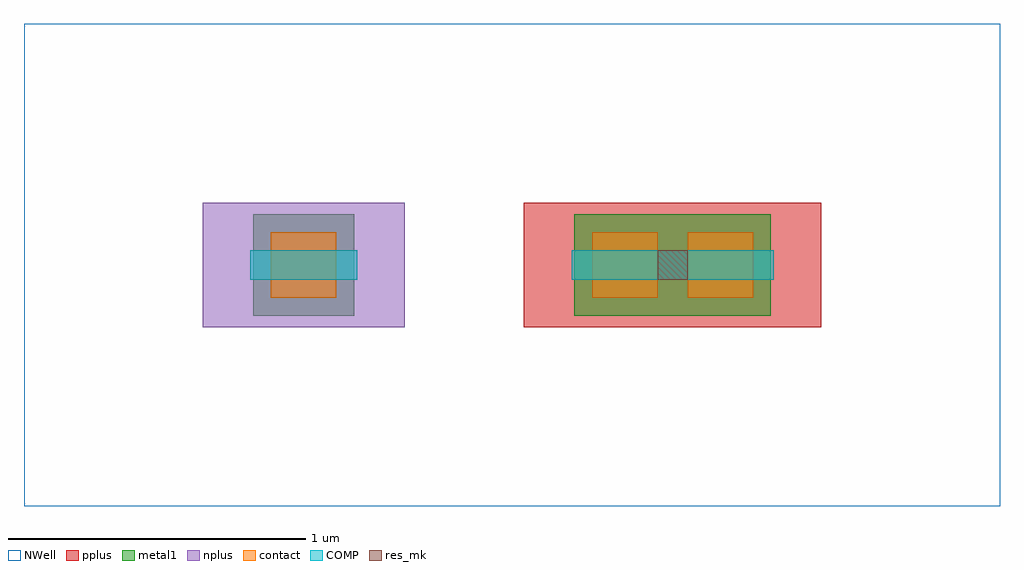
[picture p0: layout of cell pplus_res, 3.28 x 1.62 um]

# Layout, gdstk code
import gdstk
lib = gdstk.Library(unit=1e-6, precision=1e-09)
def R(c, l, rs):  # rectangles x0, y0, x1, y1
    for r in rs: c.add(gdstk.rectangle(r[:2], r[2:], *l))
NWell = (21, 0)
COMP = (22, 0)
pplus = (31, 0)
nplus = (32, 0)
contact = (33, 0)
metal1 = (34, 0)
res_mk = (110, 5)

compass_43289b1a = lib.new_cell('compass_43289b1a')
R(compass_43289b1a, res_mk, [(-0.05,-0.05,0.05,0.05)])

rectangle_43289b1a = lib.new_cell('rectangle_43289b1a')
rectangle_43289b1a.add(gdstk.Reference(compass_43289b1a, (0.05,0.05)))

compass_e4e30ed9 = lib.new_cell('compass_e4e30ed9')
R(compass_e4e30ed9, COMP, [(-0.34,-0.05,0.34,0.05)])

rectangle_e4e30ed9 = lib.new_cell('rectangle_e4e30ed9')
rectangle_e4e30ed9.add(gdstk.Reference(compass_e4e30ed9, (0.34,0.05)))

compass_f38dc993 = lib.new_cell('compass_f38dc993')
R(compass_f38dc993, contact, [(-0.11,-0.11,0.11,0.11)])

rectangle_f38dc993 = lib.new_cell('rectangle_f38dc993')
rectangle_f38dc993.add(gdstk.Reference(compass_f38dc993, (0.11,0.11)))

via_generator_9abf2eb8 = lib.new_cell('via_generator_9abf2eb8')
r = gdstk.Reference(rectangle_f38dc993, (-0.22,-0.06)); r.repetition = gdstk.Repetition(1, 1, v1=(0.5,0), v2=(0,0.5)); via_generator_9abf2eb8.add(r)

compass_02b66c81 = lib.new_cell('compass_02b66c81')
R(compass_02b66c81, metal1, [(-0.17,-0.17,0.17,0.17)])

rectangle_02b66c81 = lib.new_cell('rectangle_02b66c81')
rectangle_02b66c81.add(gdstk.Reference(compass_02b66c81, (0.17,0.17)))

via_stack_db035915 = lib.new_cell('via_stack_db035915')
via_stack_db035915.add(gdstk.Reference(via_generator_9abf2eb8, (0,0)))
via_stack_db035915.add(gdstk.Reference(rectangle_02b66c81, (-0.28,-0.12)))

compass_2737ae15 = lib.new_cell('compass_2737ae15')
R(compass_2737ae15, pplus, [(-0.5,-0.21,0.5,0.21)])

rectangle_2737ae15 = lib.new_cell('rectangle_2737ae15')
rectangle_2737ae15.add(gdstk.Reference(compass_2737ae15, (0.5,0.21)))

compass_9d2fae97 = lib.new_cell('compass_9d2fae97')
R(compass_9d2fae97, COMP, [(-0.18,-0.05,0.18,0.05)])

rectangle_9d2fae97 = lib.new_cell('rectangle_9d2fae97')
rectangle_9d2fae97.add(gdstk.Reference(compass_9d2fae97, (0.18,0.05)))

via_generator_cda28e9a = lib.new_cell('via_generator_cda28e9a')
r = gdstk.Reference(rectangle_f38dc993, (-1.3,-0.06)); r.repetition = gdstk.Repetition(1, 1, v1=(0.5,0), v2=(0,0.5)); via_generator_cda28e9a.add(r)

via_stack_0aaa5c48 = lib.new_cell('via_stack_0aaa5c48')
via_stack_0aaa5c48.add(gdstk.Reference(via_generator_cda28e9a, (0,0)))
via_stack_0aaa5c48.add(gdstk.Reference(rectangle_02b66c81, (-1.36,-0.12)))

compass_985568a3 = lib.new_cell('compass_985568a3')
R(compass_985568a3, nplus, [(-0.34,-0.21,0.34,0.21)])

rectangle_985568a3 = lib.new_cell('rectangle_985568a3')
rectangle_985568a3.add(gdstk.Reference(compass_985568a3, (0.34,0.21)))

plus_res_inst_8eec5775 = lib.new_cell('plus_res_inst_8eec5775')
plus_res_inst_8eec5775.add(gdstk.Reference(rectangle_43289b1a, (0,0)))
plus_res_inst_8eec5775.add(gdstk.Reference(rectangle_e4e30ed9, (-0.29,0)))
r = gdstk.Reference(via_stack_db035915, (0,0)); r.repetition = gdstk.Repetition(2, 1, v1=(0.32,0), v2=(0,1)); plus_res_inst_8eec5775.add(r)
plus_res_inst_8eec5775.add(gdstk.Reference(rectangle_2737ae15, (-0.45,-0.16)))
plus_res_inst_8eec5775.add(gdstk.Reference(rectangle_9d2fae97, (-1.37,0)))
plus_res_inst_8eec5775.add(gdstk.Reference(via_stack_0aaa5c48, (0,0)))
plus_res_inst_8eec5775.add(gdstk.Reference(rectangle_985568a3, (-1.53,-0.16)))

compass_b81fe53b = lib.new_cell('compass_b81fe53b')
R(compass_b81fe53b, NWell, [(-1.64,-0.81,1.64,0.81)])

rectangle_b81fe53b = lib.new_cell('rectangle_b81fe53b')
rectangle_b81fe53b.add(gdstk.Reference(compass_b81fe53b, (1.64,0.81)))

pplus_res = lib.new_cell('pplus_res')
pplus_res.add(gdstk.Reference(plus_res_inst_8eec5775, (0,0)))
pplus_res.add(gdstk.Reference(rectangle_b81fe53b, (-2.13,-0.76)))

lib.write_gds('pplus_res.gds')
